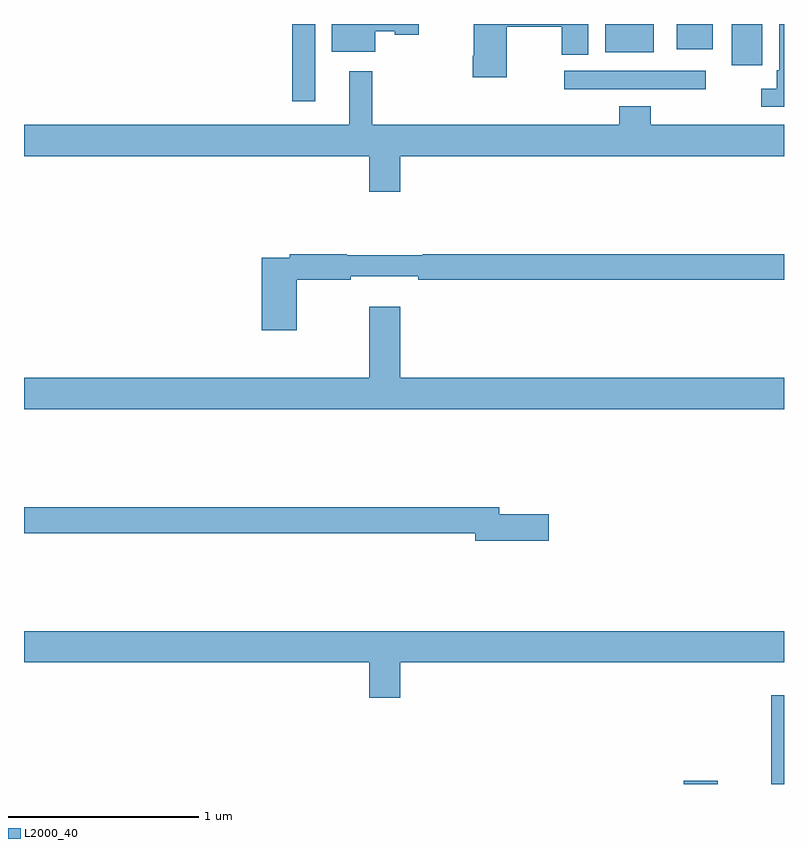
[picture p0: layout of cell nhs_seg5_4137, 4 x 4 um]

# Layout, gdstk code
import gdstk
lib = gdstk.Library(unit=1e-6, precision=1e-09)
def R(c, l, rs):  # rectangles x0, y0, x1, y1
    for r in rs: c.add(gdstk.rectangle(r[:2], r[2:], *l))
def P(c, l, *ps):  # polygons
    for p in ps: c.add(gdstk.Polygon(p, *l))
L2000_40 = (2000, 40)

nhs_seg5_4137 = lib.new_cell('nhs_seg5_4137')
R(nhs_seg5_4137, L2000_40, [(358.472,842.799,358.65,842.815), (358.934,842.799,359,843.265), (356.412,846.393,356.533,846.799), (357.843,846.456,358.588,846.552), (358.724,846.582,358.885,846.799), (358.058,846.65,358.315,846.799), (358.436,846.665,358.624,846.799)])
P(nhs_seg5_4137, L2000_40, [(357.54,846.784),(357.829,846.784),(357.829,846.637),(357.97,846.637),(357.97,846.799),(357.367,846.799),(357.367,846.631),(357.362,846.631),(357.362,846.519),(357.54,846.519)],
  [(359,846.799),(358.974,846.799),(358.974,846.556),(358.962,846.556),(358.962,846.459),(358.881,846.459),(358.881,846.363),(359,846.363)],
  [(356.848,846.76),(356.952,846.76),(356.952,846.742),(357.078,846.742),(357.078,846.799),(356.621,846.799),(356.621,846.653),(356.848,846.653)],
  [(356.98,846.104),(359,846.104),(359,846.268),(358.298,846.268),(358.298,846.367),(358.133,846.367),(358.133,846.268),(356.833,846.268),(356.833,846.55),(356.711,846.55),(356.711,846.268),(355,846.268),(355,846.104),(356.816,846.104),(356.816,845.916),(356.98,845.916)],
  [(356.435,845.452),(356.72,845.452),(356.72,845.471),(357.076,845.471),(357.076,845.452),(359,845.452),(359,845.588),(357.098,845.588),(357.098,845.581),(356.698,845.581),(356.698,845.588),(356.398,845.588),(356.398,845.568),(356.252,845.568),(356.252,845.187),(356.435,845.187)],
  [(359,844.936),(356.98,844.936),(356.98,845.311),(356.816,845.311),(356.816,844.936),(355,844.936),(355,844.772),(359,844.772)],
  [(357.763,844.22),(357.502,844.22),(357.502,844.256),(355,844.256),(355,844.12),(357.374,844.12),(357.374,844.078),(357.763,844.078)],
  [(356.98,843.44),(359,843.44),(359,843.604),(355,843.604),(355,843.44),(356.816,843.44),(356.816,843.252),(356.98,843.252)])

lib.write_gds('nhs_seg5_4137.gds')
